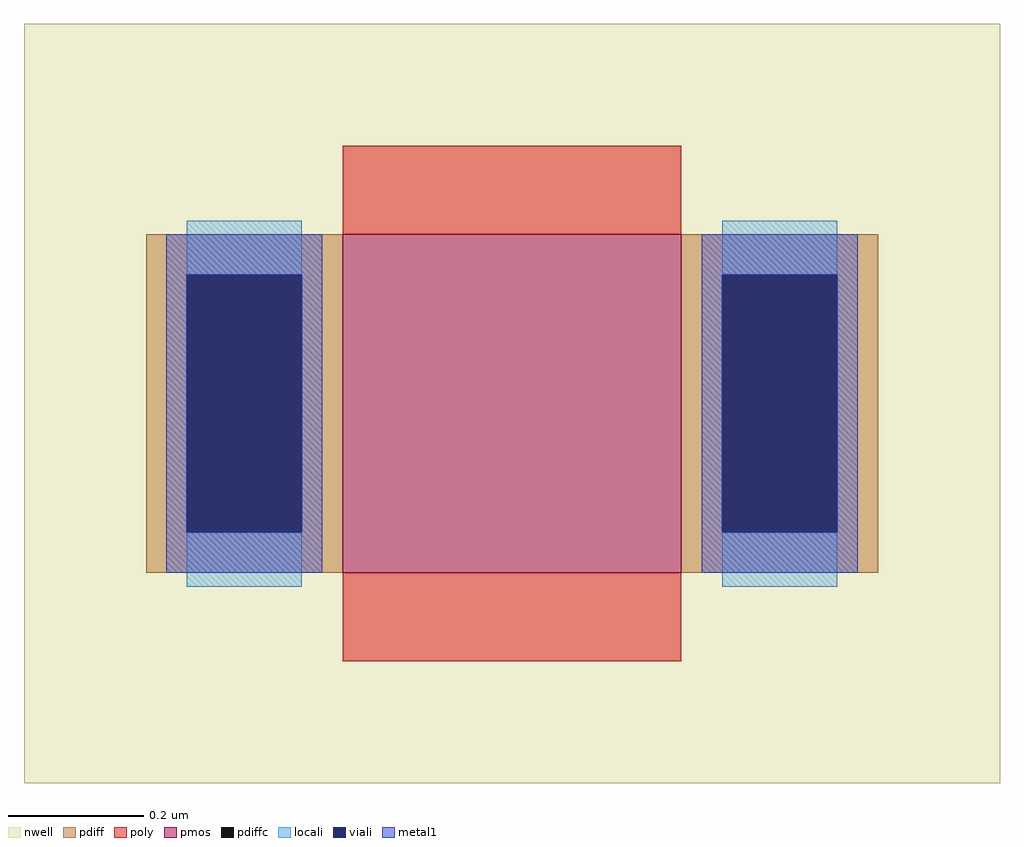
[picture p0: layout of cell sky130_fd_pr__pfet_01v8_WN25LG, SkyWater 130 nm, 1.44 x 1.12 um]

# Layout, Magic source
magic
tech sky130A
<< nwell >>
rect -72 -56 72 56
<< pmos >>
rect -25 -25 25 25
<< pdiff >>
rect -54 19 -25 25
rect -54 -19 -48 19
rect -31 -19 -25 19
rect -54 -25 -25 -19
rect 25 19 54 25
rect 25 -19 31 19
rect 48 -19 54 19
rect 25 -25 54 -19
<< pdiffc >>
rect -48 -19 -31 19
rect 31 -19 48 19
<< poly >>
rect -25 25 25 38
rect -25 -38 25 -25
<< locali >>
rect -48 19 -31 27
rect -48 -27 -31 -19
rect 31 19 48 27
rect 31 -27 48 -19
<< viali >>
rect -48 -19 -31 19
rect 31 -19 48 19
<< metal1 >>
rect -51 19 -28 25
rect -51 -19 -48 19
rect -31 -19 -28 19
rect -51 -25 -28 -19
rect 28 19 51 25
rect 28 -19 31 19
rect 48 -19 51 19
rect 28 -25 51 -19
<< properties >>
string gencell sky130_fd_pr__pfet_01v8
string library sky130
string parameters w 0.5 l 0.5 m 1 nf 1 diffcov 100 polycov 100 guard 0 glc 0 grc 0 gtc 0 gbc 0 tbcov 100 rlcov 100 topc 0 botc 0 poverlap 0 doverlap 0 lmin 0.15 wmin 0.42 compatible {sky130_fd_pr__pfet_01v8  sky130_fd_pr__pfet_01v8_lvt sky130_fd_pr__pfet_01v8_hvt  sky130_fd_pr__pfet_g5v0d10v5} full_metal 0 viasrc 100 viadrn 100 viagate 100 viagb 0 viagr 0 viagl 0 viagt 0
<< end >>
